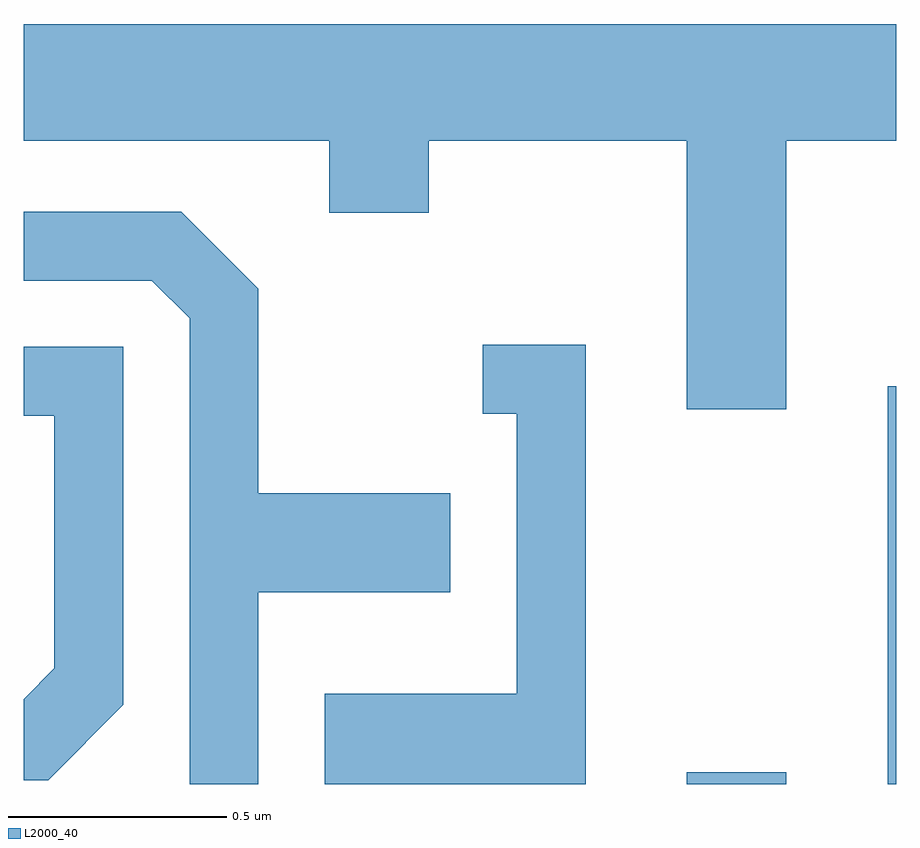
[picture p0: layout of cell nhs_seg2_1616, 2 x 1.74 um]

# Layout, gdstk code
import gdstk
lib = gdstk.Library(unit=1e-6, precision=1e-09)
def R(c, l, rs):  # rectangles x0, y0, x1, y1
    for r in rs: c.add(gdstk.rectangle(r[:2], r[2:], *l))
def P(c, l, *ps):  # polygons
    for p in ps: c.add(gdstk.Polygon(p, *l))
L2000_40 = (2000, 40)

nhs_seg2_1616 = lib.new_cell('nhs_seg2_1616')
R(nhs_seg2_1616, L2000_40, [(198.131,1086.802,198.359,1086.829), (198.591,1086.802,198.611,1087.714)])
P(nhs_seg2_1616, L2000_40, [(198.359,1088.276),(198.611,1088.276),(198.611,1088.544),(196.611,1088.544),(196.611,1088.276),(197.311,1088.276),(197.311,1088.111),(197.539,1088.111),(197.539,1088.276),(198.131,1088.276),(198.131,1087.661),(198.359,1087.661)],
  [(197.149,1087.241),(197.589,1087.241),(197.589,1087.469),(197.149,1087.469),(197.149,1087.937),(196.972,1088.114),(196.611,1088.114),(196.611,1087.956),(196.904,1087.956),(196.991,1087.869),(196.991,1086.802),(197.149,1086.802)],
  [(197.899,1087.809),(197.663,1087.809),(197.663,1087.651),(197.741,1087.651),(197.741,1087.009),(197.301,1087.009),(197.301,1086.802),(197.899,1086.802)],
  [(196.839,1086.984),(196.839,1087.804),(196.611,1087.804),(196.611,1087.646),(196.681,1087.646),(196.681,1087.067),(196.611,1086.996),(196.611,1086.811),(196.667,1086.811)])

lib.write_gds('nhs_seg2_1616.gds')
